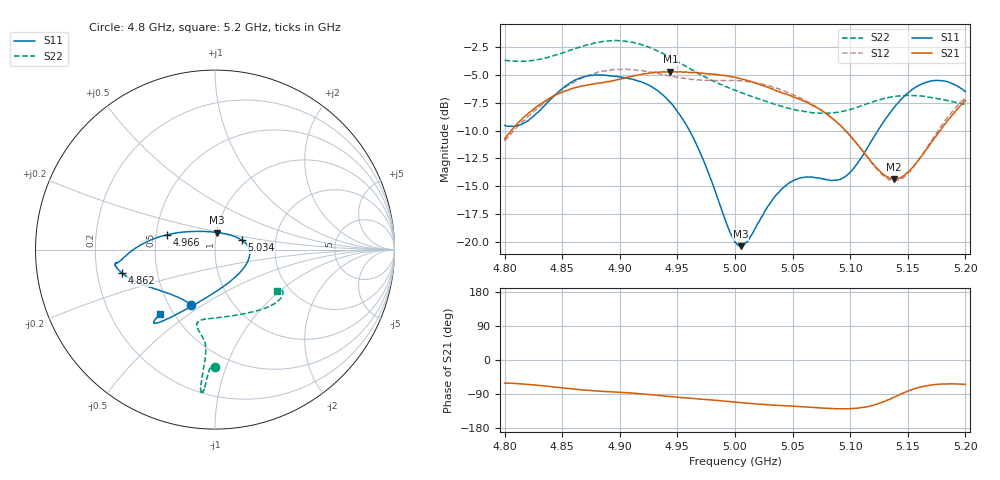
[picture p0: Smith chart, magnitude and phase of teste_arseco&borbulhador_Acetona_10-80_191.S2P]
! Network Analyzer HP8722D
! Hewlett-Packard
! Data name: Linha & Wilkinson
! Saver's name: Rodrigo Anjos
! Comments: Teste da utilização de aquisição
! continua pelo VNA HP8722D
! Time and date: 17/4/2025 15:57
!  Frequency  S11  S21  S12  S22
# HZ  S  MA R 50
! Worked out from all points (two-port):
!   401 points, 4.8 GHz to 5.2 GHz, reference 50 ohm
!   highest |S21| = -4.69 dB at 4.944 GHz (marker M1); lowest = -14.4 dB at 5.138 GHz (marker M2)
!   |S21| within 3 dB of the highest: 4.83 GHz to 5.067 GHz (236.6 MHz wide, 4.78 % of centre); 5.196262 GHz to end of sweep
!   lowest |S11| = -20.4 dB at 5.005 GHz (marker M3), VSWR 1.21, Z = 50.3 + j9.61 ohm
!   |S11| at or under -10 dB: 4.961 GHz to 5.124 GHz (163.4 MHz wide, 3.24 % of centre)
!   |S22| runs from -8.5 to -1.9 dB; largest |S21 - S12| = 0.88
!   S11 on the Smith chart (normalised r, x): 4.8 GHz: 0.65, -0.44; 4.862 GHz: 0.31, -0.11; 4.966 GHz: 0.57, +0.10; 5.034 GHz: 1.34, +0.15; 5.2 GHz: 0.42, -0.39
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4.8e9  0.3336 -113.5  0.2902 -60.8  0.284 -175.0  0.6567 -90.0
4.819e9  0.3476 -133.5  0.3716 -64.1  0.36 -173.7  0.6506 -91.7
4.862e9  0.5356 -165.9  0.4951 -77.2  0.5284 -177.0  0.7425 -93.9
4.867e9  0.5482 -168.0  0.5023 -78.9  0.545 -178.0  0.757 -94.0
4.899e9  0.5509 -172.4  0.5363 -85.1  0.5964 175.5  0.8019 -95.4
4.934e9  0.4731 -178.2  0.5783 -93.6  0.5711 171.8  0.7159 -95.9
4.944e9  0.4229 177.2  0.5829 -96.4  0.555 171.8  0.6747 -95.6
4.966e9  0.2779 162.6  0.5762 -102.2  0.5348 173.7  0.5797 -95.1
5e9  0.09979 100.6  0.5485 -111.2  0.5302 176.1  0.48 -99.3
5.005e9  0.09545 82.7  0.5412 -112.4  0.5295 176.1  0.4685 -100.4
5.012e9  0.1024 60.1  0.5287 -114.3  0.524 175.7  0.4551 -101.8
5.034e9  0.158 19.9  0.4823 -119.0  0.4964 174.7  0.4161 -103.4
5.049e9  0.1861 4.6  0.4518 -121.5  0.4617 174.1  0.396 -99.9
5.067e9  0.1951 -14.4  0.412 -125.1  0.4154 173.5  0.3804 -90.6
5.086e9  0.1888 -44.6  0.3534 -128.2  0.3537 173.7  0.3806 -76.2
5.097e9  0.1983 -67.0  0.3112 -128.7  0.3117 174.7  0.3903 -67.1
5.134e9  0.3768 -116.8  0.1935 -103.9  0.1896 -156.7  0.4466 -43.0
5.138e9  0.4019 -119.0  0.191 -98.4  0.1883 -150.5  0.4495 -41.2
5.151e9  0.4707 -124.8  0.2077 -81.0  0.2053 -130.5  0.4559 -36.5
5.17e9  0.5284 -129.0  0.2773 -66.2  0.2828 -112.3  0.4461 -32.0
5.184e9  0.5253 -130.3  0.348 -63.0  0.3597 -107.3  0.4325 -31.0
5.2e9  0.473 -130.6  0.4323 -64.5  0.4441 -106.6  0.4147 -33.5
